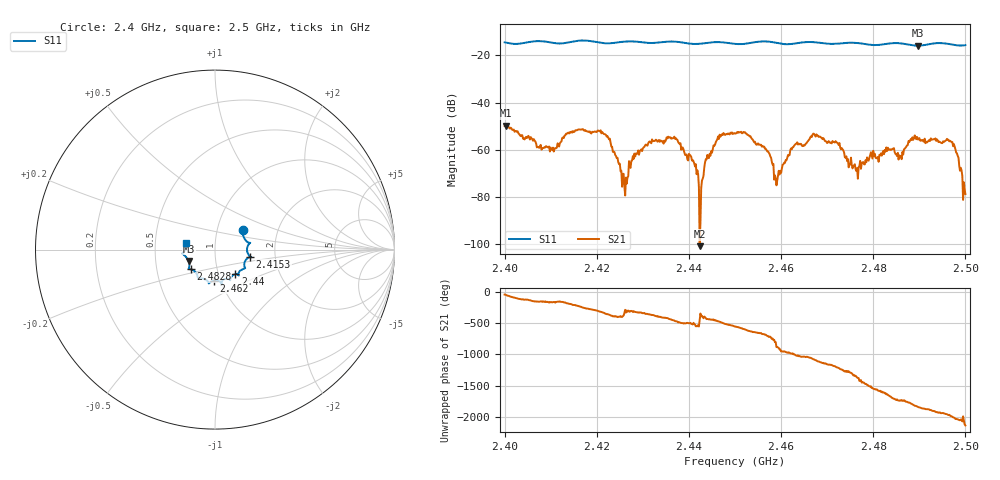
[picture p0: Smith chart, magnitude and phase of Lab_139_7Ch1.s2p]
# Hz S RI R 50
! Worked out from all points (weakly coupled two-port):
!   601 points, 2.4 GHz to 2.5 GHz, reference 50 ohm
!   highest |S21| = -49.83 dB at 2.4003 GHz (marker M1); lowest = -100.9 dB at 2.4423 GHz (marker M2)
!   lowest |S11| = -15.9 dB at 2.4897 GHz (marker M3), VSWR 1.38, Z = 36.9 - j4.82 ohm
!   |S11| at or under -10 dB: start of sweep to end of sweep
!   S12 and S22 are empty: the file has one direction only
!   S11 on the Smith chart (normalised r, x): 2.4 GHz: 1.33, +0.30; 2.4153 GHz: 1.48, -0.12; 2.44 GHz: 1.21, -0.34; 2.462 GHz: 0.93, -0.33; 2.4828 GHz: 0.74, -0.17; 2.5 GHz: 0.72, +0.06
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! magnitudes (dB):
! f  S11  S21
! 2.4 GHz  -14.5  -49.9
! 2.4003 GHz  -14.6  -49.8
! 2.4103 GHz  -14.7  -60.1
! 2.4153 GHz  -14.0  -51.8
! 2.4167 GHz  -13.7  -51.4
! 2.4223 GHz  -14.9  -54.3
! 2.426 GHz  -14.2  -75.6
! 2.4333 GHz  -14.6  -56.4
! 2.44 GHz  -15.0  -61.8
! 2.4423 GHz  -15.1  -100.9
! 2.4463 GHz  -14.4  -54.4
! 2.45 GHz  -15.1  -53.1
! 2.4567 GHz  -14.1  -59.6
! 2.459 GHz  -14.7  -75.1
! 2.462 GHz  -15.2  -60.2
! 2.4667 GHz  -14.4  -54.6
! 2.4762 GHz  -14.7  -68.2
! 2.4828 GHz  -15.2  -59.0
! 2.4833 GHz  -15.0  -60.0
! 2.4897 GHz  -15.9  -55.6
! 2.4972 GHz  -15.5  -56.8
! 2.5 GHz  -15.7  -78.8
